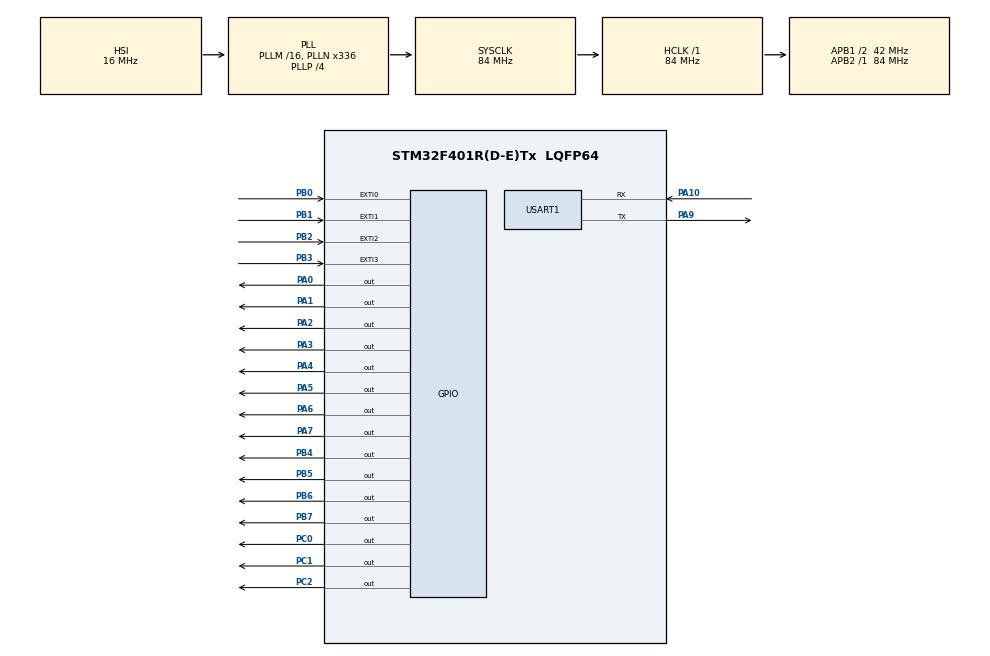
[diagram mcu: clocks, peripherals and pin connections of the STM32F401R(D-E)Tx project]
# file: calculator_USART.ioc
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Mcu.Family=STM32F4
Mcu.Name=STM32F401R(D-E)Tx
Mcu.Package=LQFP64
NVIC.EXTI0_IRQn=true\:0\:0\:false\:false\:true\:true\:true\:true
NVIC.EXTI1_IRQn=true\:0\:0\:false\:false\:true\:true\:true\:true
NVIC.EXTI2_IRQn=true\:0\:0\:false\:false\:true\:true\:true\:true
NVIC.EXTI3_IRQn=true\:0\:0\:false\:false\:true\:true\:true\:true
NVIC.PriorityGroup=NVIC_PRIORITYGROUP_0
NVIC.USART1_IRQn=true\:0\:0\:false\:false\:true\:true\:true\:true
PA0-WKUP.Signal=GPIO_Output
PA1.Signal=GPIO_Output
PA10.Mode=Asynchronous
PA10.Signal=USART1_RX
PA2.Signal=GPIO_Output
PA3.Signal=GPIO_Output
PA4.Signal=GPIO_Output
PA5.Signal=GPIO_Output
PA6.Signal=GPIO_Output
PA7.Signal=GPIO_Output
PA9.Mode=Asynchronous
PA9.Signal=USART1_TX
PB0.GPIO_PuPd=GPIO_PULLDOWN
PB0.Signal=GPXTI0
PB1.GPIO_PuPd=GPIO_PULLDOWN
PB1.Signal=GPXTI1
PB2.GPIO_PuPd=GPIO_PULLDOWN
PB2.Signal=GPXTI2
PB3.GPIO_PuPd=GPIO_PULLDOWN
PB3.Signal=GPXTI3
PB4.Signal=GPIO_Output
PB5.Signal=GPIO_Output
PB6.Signal=GPIO_Output
PB7.Signal=GPIO_Output
PC0.Signal=GPIO_Output
PC1.Signal=GPIO_Output
PC2.Signal=GPIO_Output
ProjectManager.HeapSize=0x200
ProjectManager.StackSize=0x400
ProjectManager.TargetToolchain=MDK-ARM V5.32
RCC.48MHZClocksFreq_Value=48000000
RCC.AHBFreq_Value=84000000
RCC.APB1CLKDivider=RCC_HCLK_DIV2
RCC.APB1Freq_Value=42000000
RCC.APB1TimFreq_Value=84000000
RCC.APB2Freq_Value=84000000
RCC.APB2TimFreq_Value=84000000
RCC.CortexFreq_Value=84000000
RCC.HCLKFreq_Value=84000000
RCC.HSE_VALUE=8000000
RCC.HSI_VALUE=16000000
RCC.LSE_VALUE=32768
RCC.PLLN=336
RCC.PLLP=RCC_PLLP_DIV4
RCC.PLLQ=7
RCC.SYSCLKFreq_VALUE=84000000
RCC.SYSCLKSource=RCC_SYSCLKSOURCE_PLLCLK
RCC.VCOOutputFreq_Value=336000000
USART1.VirtualMode=VM_ASYNC
board=NUCLEO-F401RE

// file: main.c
/* USER CODE BEGIN Header */
/**
  ******************************************************************************
  * @file           : main.c
  * @brief          : Main program body
  ******************************************************************************
  * @attention
  *
  * Copyright (c) 2022 STMicroelectronics.
  * All rights reserved.
  *
  * This software is licensed under terms that can be found in the LICENSE file
  * in the root directory of this software component.
  * If no LICENSE file comes with this software, it is provided AS-IS.
  *
  ******************************************************************************
  */
/* USER CODE END Header */
#include "main.h"
#include "usart.h"
#include "gpio.h"

/* USER CODE BEGIN PD */
// LCD pins number in port A
#define data_port GPIOA
#define d0 GPIO_PIN_0 //PA0
#define d1 GPIO_PIN_1 //PA1
#define d2 GPIO_PIN_2 //PA2
#define d3 GPIO_PIN_3 //PA3
#define d4 GPIO_PIN_4 //PA4
#define d5 GPIO_PIN_5 //PA5
#define d6 GPIO_PIN_6 //PA6
#define d7 GPIO_PIN_7 //PA07

#define command_port GPIOC
#define E GPIO_PIN_2  //PB2
#define RW GPIO_PIN_1 //PB1
#define RS GPIO_PIN_0 //PB0

// Keypad pins number in port B
#define keypad_port GPIOB
#define A GPIO_PIN_4//PC0
#define B GPIO_PIN_5//PC1
#define C GPIO_PIN_6//PC2
#define D GPIO_PIN_7//PC3

#define one   GPIO_PIN_0 //PC4
#define two   GPIO_PIN_1 //PC5
#define three GPIO_PIN_2 //PC6
#define four  GPIO_PIN_3 //PC7

//MASKS:
#define SET1(x) (1ul << (x))
#define SET0(x) (~(SET1(x)))
/* USER CODE END PD */

/* USER CODE BEGIN PV */
static volatile char array[16];
static volatile int size = 0; // return the first empty index
static volatile int status = 0; // 0 = usual      1 = finding result       2 = clear
static volatile int mul = 0;
/* USER CODE END PV */

void SystemClock_Config(void);
/* USER CODE BEGIN PFP */
void initialize(void);
void keypad_init(void);
char findKeypadButton(void);
void LCD_put_char(char data);
void LCD_init(void);
void LCD_command(unsigned char command);
void LCD_resetCommand(void);
void LCD_setCommand(void);
int getNumber(char c);
char getChar(int digit);
void calculate(void);
void resetArray(void);
void delay(void);
/* USER CODE END PFP */

/* USER CODE BEGIN 0 */
void initialize(void){
	//setting keypad input to 1
	keypad_init();

	//writing names to LCD
	LCD_init();
	delay();
	LCD_setCommand();

	// setting all array indexes to "&". (we consider this as a null index in array)
	resetArray();
}
void keypad_init(void){
	HAL_GPIO_WritePin(keypad_port, A, 1);
	HAL_GPIO_WritePin(keypad_port, B, 1);
	HAL_GPIO_WritePin(keypad_port, C, 1);
	HAL_GPIO_WritePin(keypad_port, D, 1);
}

char findKeypadButton(void){
	if(HAL_GPIO_ReadPin(keypad_port, one) == 1){
		char c = ' ';
		HAL_GPIO_WritePin(keypad_port, A, 0);
		if(HAL_GPIO_ReadPin(keypad_port, one) == 0)
			c = '7';
		HAL_GPIO_WritePin(keypad_port, B, 0);
		if(HAL_GPIO_ReadPin(keypad_port, one) == 0)
			c = '4';
		HAL_GPIO_WritePin(keypad_port, C, 0);
		if(HAL_GPIO_ReadPin(keypad_port, one) == 0)
			c = '1';
		HAL_GPIO_WritePin(keypad_port, D, 0);
		if(HAL_GPIO_ReadPin(keypad_port, one) == 0){
			c = ' ';
			status = 2;
		}
		keypad_init();
		return c;
	}else if (HAL_GPIO_ReadPin(keypad_port, two) == 1){
		char c = ' ';
		HAL_GPIO_WritePin(keypad_port, A, 0);
		if(HAL_GPIO_ReadPin(keypad_port, two) == 0)
			c = '8';
		HAL_GPIO_WritePin(keypad_port, B, 0);
		if(HAL_GPIO_ReadPin(keypad_port, two) == 0)
			c = '5';
		HAL_GPIO_WritePin(keypad_port, C, 0);
		if(HAL_GPIO_ReadPin(keypad_port, two) == 0)
			c = '2';
		HAL_GPIO_WritePin(keypad_port, D, 0);
		if(HAL_GPIO_ReadPin(keypad_port, two) == 0)
			c = '0';
		keypad_init();
		return c;
	}else if (HAL_GPIO_ReadPin(keypad_port, three) == 1){
		char c = ' ';
		HAL_GPIO_WritePin(keypad_port, A, 0);
		if(HAL_GPIO_ReadPin(keypad_port, three) == 0)
			c = '9';
		HAL_GPIO_WritePin(keypad_port, B, 0);
		if(HAL_GPIO_ReadPin(keypad_port, three) == 0)
			c = '6';
		HAL_GPIO_WritePin(keypad_port, C, 0);
		if(HAL_GPIO_ReadPin(keypad_port, three) == 0)
			c = '3';
		HAL_GPIO_WritePin(keypad_port, D, 0);
		if(HAL_GPIO_ReadPin(keypad_port, three) == 0){
			c = ' ';
			status = 1;
		}
		keypad_init();
		return c;
	}else if (HAL_GPIO_ReadPin(keypad_port, four) == 1){
		char c = ' ';
		HAL_GPIO_WritePin(keypad_port, A, 0);
		if(HAL_GPIO_ReadPin(keypad_port, two) == 0)
			c = '/';
		HAL_GPIO_WritePin(keypad_port, B, 0);
		if(HAL_GPIO_ReadPin(keypad_port, two) == 0)
			c = '*';
		HAL_GPIO_WritePin(keypad_port, C, 0);
		if(HAL_GPIO_ReadPin(keypad_port, two) == 0)
			c = '-';
		HAL_GPIO_WritePin(keypad_port, D, 0);
		if(HAL_GPIO_ReadPin(keypad_port, two) == 0)
			c = '+';
		keypad_init();
		return c;
	}//never gets here
	return ' ';
}

void LCD_put_char(char data) {
	GPIOA -> ODR = data;
	HAL_GPIO_WritePin(command_port, RS, 1);//GPIOA -> ODR |= SET1(RS);
	HAL_GPIO_WritePin(command_port, RW, 0);// GPIOA -> ODR &= SET0(RW);
  HAL_GPIO_WritePin(command_port, E, 1); // GPIOA -> ODR |= SET1(E);
	HAL_GPIO_WritePin(command_port, E, 0); // GPIOA -> ODR &= SET0(E);
	delay();
}

void LCD_init(void){
	LCD_command(0x38);
	delay();
	LCD_command(0x06);
	delay();
	LCD_command(0x08);
	delay();
	LCD_command(0x0F);
	delay();
}

void LCD_command(unsigned char command){
	GPIOA -> ODR = command;
	HAL_GPIO_WritePin(command_port, RS, 0);//GPIOA -> ODR &= SET0(RS);
	HAL_GPIO_WritePin(command_port, RW, 0);//GPIOA -> ODR &= SET0(RW);
  HAL_GPIO_WritePin(command_port, E, 1);//GPIOA -> ODR |= SET1(E);
  delay();
  HAL_GPIO_WritePin(command_port, E, 0);//GPIOA -> ODR &= SET0(E);

  if (command < 4)
      delay();           /* command 1 and 2 needs up to 1.64ms */
  else
      delay();           /* all others 40 us */
}
void delay(void) {
	for(int i = 0; i < 15; i++)
		HAL_Delay(0);
}
int getNumber(char c){
	switch(c){
		case '0' : return 0;
		case '1' : return 1;
		case '2' : return 2;
		case '3' : return 3;
		case '4' : return 4;
		case '5' : return 5;
		case '6' : return 6;
		case '7' : return 7;
		case '8' : return 8;
		case '9' : return 9;
	}
	return -1;
}
void LCD_setCommand(void){
	LCD_command(0x01);
	delay();
	LCD_command(0x38);
	delay();
}

void LCD_resetCommand(void){
	LCD_command(0x01);
	delay();
	LCD_command(0x80);
	delay();
	for(int i = 0; i < 16; i++){
		LCD_put_char(' ');
		delay();
	}
	LCD_command(0x80);
	delay();
	int i = 0;
	while(i < size){
		LCD_put_char(array[i++]);
		delay();
	}
}

char getChar(int digit){
	switch(digit){
		case 0 : return '0';
		case 1 : return '1';
		case 2 : return '2';
		case 3 : return '3';
		case 4 : return '4';
		case 5 : return '5';
		case 6 : return '6';
		case 7 : return '7';
		case 8 : return '8';
		case 9 : return '9';
	}
	return '&';
}
void resetArray(void){
	size = 0;
	for(int i = 0; i< 16; i++){
		array[i] = ' ';
		delay();
	}
}
void calculate(void){
	int op1 = 0, op2 = 0, total;
	int counter = 0;
	if(getNumber(array[counter]) == -1){
		counter = 1;
		delay(); // this is necessary, otherwise it won't work properly.(it seems, it doesn't have enough time to be executed)
	}
	while((counter < size) && (getNumber(array[counter]) >= 0)){
		op1 *= 10;
		op1 += getNumber(array[counter++]);
	}
	int operatorIndex = counter;
	if(getNumber(array[0]) == -1){
		op1 = -op1;
	}
	total = op1;
	if(counter == size || array[counter] == ' '){
		return;
	}
	counter++;
	while(counter < size){
		op2 *= 10;
		op2 += getNumber(array[counter++]);
	}
	switch(array[operatorIndex]){
		case '+' : total = op1 + op2; break;
		case '-' : total = op1 - op2; break;
		case '*' : total = op1 * op2; break;
		case '/' : total = op1 / op2; break;
	}
	resetArray();
	if(total == 0){
		array[size++]='0';
		return;
	}
	char digit[8];
	if(total < 0){
		array[size++] = '-';
		total = -total;
	}

	mul = 3 * total;

	int index = 0;
	while(total > 0){
		digit[index++] = getChar(total % 10);
		total /= 10;
	}
	while(index > 0)
		array[size++] = digit[--index];

}

void HAL_GPIO_EXTI_Callback(uint16_t GPIO_Pin){
	LCD_put_char('i');
	if(GPIO_Pin & SET1(0)){
		LCD_put_char('n');
		char res = findKeypadButton();
		HAL_NVIC_ClearPendingIRQ(EXTI0_IRQn); // to avoid making an infinite loop due to making changes that lead to interrupt in keypad
		LCD_put_char(res);
	}
}
/* USER CODE END 0 */

int main(void)
{

  /* MCU Configuration--------------------------------------------------------*/

  /* Reset of all peripherals, Initializes the Flash interface and the Systick. */
  HAL_Init();

  /* Configure the system clock */
  SystemClock_Config();

  /* Initialize all configured peripherals */
  MX_GPIO_Init();
  MX_USART1_UART_Init();

  /* Infinite loop */
  /* USER CODE BEGIN WHILE */
	initialize();
	LCD_put_char('s');
	//GPIOB -> ODR |= SET1(4) | SET1(5) | SET1(6) | SET1(7);
	HAL_GPIO_WritePin(keypad_port, A, 1);
	HAL_GPIO_WritePin(keypad_port, B, 1);
	HAL_GPIO_WritePin(keypad_port, C, 1);
	HAL_GPIO_WritePin(keypad_port, D, 1);
  while (1)
  {
    /* USER CODE END WHILE */

  }
}

void SystemClock_Config(void)
{
  RCC_OscInitTypeDef RCC_OscInitStruct = {0};
  RCC_ClkInitTypeDef RCC_ClkInitStruct = {0};

  /** Configure the main internal regulator output voltage
  */
  __HAL_RCC_PWR_CLK_ENABLE();
  __HAL_PWR_VOLTAGESCALING_CONFIG(PWR_REGULATOR_VOLTAGE_SCALE2);

  /** Initializes the RCC Oscillators according to the specified parameters
  * in the RCC_OscInitTypeDef structure.
  */
  RCC_OscInitStruct.OscillatorType = RCC_OSCILLATORTYPE_HSI;
  RCC_OscInitStruct.HSIState = RCC_HSI_ON;
  RCC_OscInitStruct.HSICalibrationValue = RCC_HSICALIBRATION_DEFAULT;
  RCC_OscInitStruct.PLL.PLLState = RCC_PLL_ON;
  RCC_OscInitStruct.PLL.PLLSource = RCC_PLLSOURCE_HSI;
  RCC_OscInitStruct.PLL.PLLM = 16;
  RCC_OscInitStruct.PLL.PLLN = 336;
  RCC_OscInitStruct.PLL.PLLP = RCC_PLLP_DIV4;
  RCC_OscInitStruct.PLL.PLLQ = 7;
  if (HAL_RCC_OscConfig(&RCC_OscInitStruct) != HAL_OK)
  {
    Error_Handler();
  }

  /** Initializes the CPU, AHB and APB buses clocks
  */
  RCC_ClkInitStruct.ClockType = RCC_CLOCKTYPE_HCLK|RCC_CLOCKTYPE_SYSCLK
                              |RCC_CLOCKTYPE_PCLK1|RCC_CLOCKTYPE_PCLK2;
  RCC_ClkInitStruct.SYSCLKSource = RCC_SYSCLKSOURCE_PLLCLK;
  RCC_ClkInitStruct.AHBCLKDivider = RCC_SYSCLK_DIV1;
  RCC_ClkInitStruct.APB1CLKDivider = RCC_HCLK_DIV2;
  RCC_ClkInitStruct.APB2CLKDivider = RCC_HCLK_DIV1;

  if (HAL_RCC_ClockConfig(&RCC_ClkInitStruct, FLASH_LATENCY_2) != HAL_OK)
  {
    Error_Handler();
  }
}

void Error_Handler(void)
{
  __disable_irq();
  while (1)
  {
  }
}
